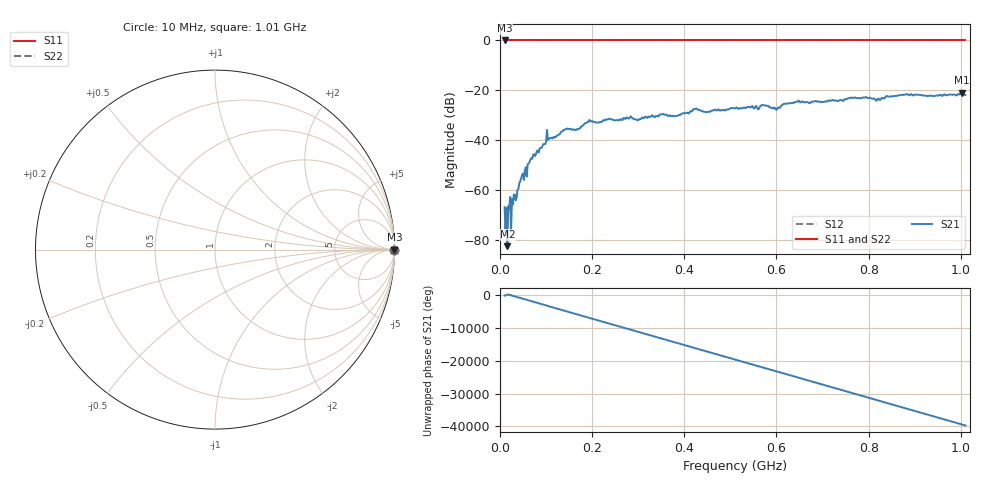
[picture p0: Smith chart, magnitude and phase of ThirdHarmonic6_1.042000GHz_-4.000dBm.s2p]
! 8/16/2025 9:03:48 AM
! C:\ANRITSUVNA\TEMP\TEMP.S2P
! CHANNEL.1
! TR.MEASUREMENT
! RAW.DATA
! RF.CORRECTION.OFF
! AVERAGING.OFF
! IF.BANDWIDTH: 5KHZ
! SWEEPTYPE:  FREQ.SWEEP(Linear)
! Reference Plane Port Info
! PORT:  PORT1  PORT2
! DISTANCE:  0  m  0  m
! TIME:  0  s  0  s
! PHASE.OFFSET:  0  deg.  0  deg.
! LOSS:  0  dB  0  dB
! REF.LOSS:  0  dB  0  dB
! REF.FREQ:  0  Hz  0  Hz
! Power Info
! POWER:  -20  dBm  -20  dBm
! EFF.POWER:  -20  dBm  -20  dBm
! SOURCE.ATTEN:  0  dB  0  dB
! TEST.ATTEN:  0  dB  0  dB
# GHZ S RI R 50.0
! FREQ.GHZ  S11RE  S11IM  S21RE  S21IM  S12RE  S12IM  S22RE  S22IM
!; PortSelection: Port_12
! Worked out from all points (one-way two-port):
!   501 points, 10 MHz to 1.01 GHz, reference 50 ohm
!   highest |S21| = -20.96 dB at 1.002 GHz (marker M1); lowest = -82.6 dB at 16 MHz (marker M2)
!   lowest |S11| = 0.0 dB at 10 MHz (marker M3)
!   |S11| at or under -10 dB: nowhere
!   |S22| runs from 0.0 to 0.0 dB; largest |S21 - S12| = 1.1
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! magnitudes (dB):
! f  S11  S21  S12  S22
! 10 MHz  0.0  -66.9  0.0  0.0
! 12 MHz  0.0  -76.9  0.0  0.0
! 16 MHz  0.0  -82.6  0.0  0.0
! 18 MHz  0.0  -66.4  0.0  0.0
! 20 MHz  0.0  -67.5  0.0  0.0
! 22 MHz  0.0  -62.8  0.0  0.0
! 28 MHz  0.0  -65.8  0.0  0.0
! 30 MHz  0.0  -61.8  0.0  0.0
! 38 MHz  0.0  -59.9  0.0  0.0
! 46 MHz  0.0  -55.1  0.0  0.0
! 70 MHz  0.0  -47.5  0.0  0.0
! 98 MHz  0.0  -41.6  0.0  0.0
! 142 MHz  0.0  -35.7  0.0  0.0
! 178 MHz  0.0  -34.4  0.0  0.0
! 196 MHz  0.0  -32.4  0.0  0.0
! 344 MHz  0.0  -30.4  0.0  0.0
! 510 MHz  0.0  -27.3  0.0  0.0
! 602 MHz  0.0  -27.2  0.0  0.0
! 678 MHz  0.0  -24.6  0.0  0.0
! 844 MHz  0.0  -22.6  0.0  0.0
! 1.002 GHz  0.0  -21.0  0.0  0.0
! 1.01 GHz  0.0  -21.9  0.0  0.0
